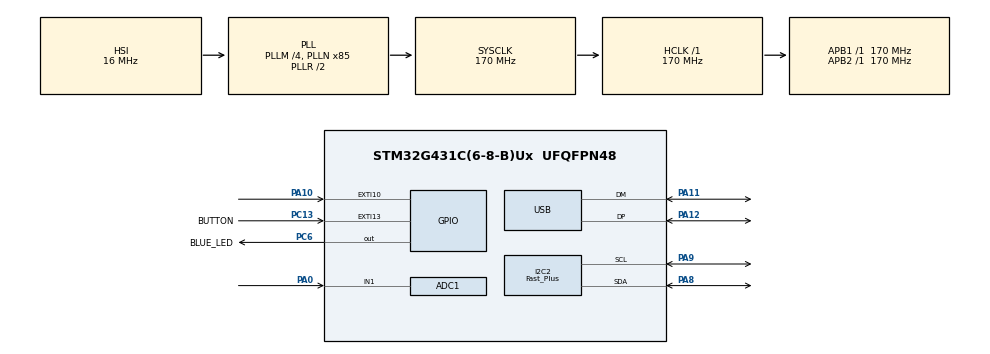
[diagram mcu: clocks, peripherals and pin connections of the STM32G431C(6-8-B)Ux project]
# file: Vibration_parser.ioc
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ADC1.Channel-2\#ChannelRegularConversion=ADC_CHANNEL_1
ADC1.ClockPrescaler=ADC_CLOCK_ASYNC_DIV4
ADC1.ContinuousConvMode=DISABLE
ADC1.EOCSelection=ADC_EOC_SINGLE_CONV
ADC1.EnableRegularConversion=ENABLE
ADC1.GainCompensation=0
ADC1.NbrOfConversionFlag=1
ADC1.OffsetNumber-2\#ChannelRegularConversion=ADC_OFFSET_NONE
ADC1.Overrun=ADC_OVR_DATA_OVERWRITTEN
ADC1.OversamplingMode=ENABLE
ADC1.OversamplingStopReset=ADC_REGOVERSAMPLING_CONTINUED_MODE
ADC1.Rank-2\#ChannelRegularConversion=1
ADC1.Ratio=ADC_OVERSAMPLING_RATIO_16
ADC1.Resolution=ADC_RESOLUTION_12B
ADC1.SamplingTime-2\#ChannelRegularConversion=ADC_SAMPLETIME_2CYCLES_5
ADC1.master=1
I2C2.I2C_Speed_Mode=I2C_Fast_Plus
I2C2.Timing=0x00802172
Mcu.Family=STM32G4
Mcu.Name=STM32G431C(6-8-B)Ux
Mcu.Package=UFQFPN48
NVIC.ADC1_2_IRQn=true\:4\:0\:true\:false\:true\:true\:true\:true
NVIC.EXTI15_10_IRQn=true\:0\:0\:false\:false\:true\:true\:true\:true
NVIC.PriorityGroup=NVIC_PRIORITYGROUP_4
NVIC.USB_LP_IRQn=true\:0\:0\:false\:false\:true\:false\:true\:true
PA0.Mode=IN1-Single-Ended
PA0.Signal=ADC1_IN1
PA10.GPIO_PuPd=GPIO_PULLDOWN
PA10.Signal=GPXTI10
PA11.Mode=Device
PA11.Signal=USB_DM
PA12.Mode=Device
PA12.Signal=USB_DP
PA13.Mode=JTAG_4_pins
PA13.Signal=SYS_JTMS-SWDIO
PA14.Mode=JTAG_4_pins
PA14.Signal=SYS_JTCK-SWCLK
PA15.Mode=JTAG_4_pins
PA15.Signal=SYS_JTDI
PA8.Mode=I2C
PA8.Signal=I2C2_SDA
PA9.Mode=I2C
PA9.Signal=I2C2_SCL
PB3.Mode=JTAG_4_pins
PB3.Signal=SYS_JTDO-SWO
PC13.GPIO_Label=BUTTON
PC13.GPIO_PuPd=GPIO_PULLDOWN
PC13.Signal=GPXTI13
PC14-OSC32_IN.Mode=LSE-External-Oscillator
PC14-OSC32_IN.Signal=RCC_OSC32_IN
PC15-OSC32_OUT.Mode=LSE-External-Oscillator
PC15-OSC32_OUT.Signal=RCC_OSC32_OUT
PC6.GPIO_Label=BLUE_LED
PC6.Signal=GPIO_Output
PF0-OSC_IN.Mode=HSE-External-Oscillator
PF0-OSC_IN.Signal=RCC_OSC_IN
PF1-OSC_OUT.Mode=HSE-External-Oscillator
PF1-OSC_OUT.Signal=RCC_OSC_OUT
ProjectManager.HeapSize=0x200
ProjectManager.StackSize=0x400
ProjectManager.TargetToolchain=STM32CubeIDE
RCC.ADC12Freq_Value=170000000
RCC.AHBFreq_Value=170000000
RCC.APB1Freq_Value=170000000
RCC.APB1TimFreq_Value=170000000
RCC.APB2Freq_Value=170000000
RCC.APB2TimFreq_Value=170000000
RCC.CK48CLockSelection=RCC_USBCLKSOURCE_HSI48
RCC.CortexFreq_Value=170000000
RCC.EXTERNAL_CLOCK_VALUE=12288000
RCC.HCLKFreq_Value=170000000
RCC.HSE_VALUE=8000000
RCC.HSI48_VALUE=48000000
RCC.HSI_VALUE=16000000
RCC.PLLM=RCC_PLLM_DIV4
RCC.PLLN=85
RCC.SYSCLKFreq_VALUE=170000000
RCC.SYSCLKSource=RCC_SYSCLKSOURCE_PLLCLK
RCC.USBFreq_Value=48000000
RCC.VCOOutputFreq_Value=340000000
USB_DEVICE.CLASS_NAME_FS=CDC
USB_DEVICE.VirtualMode=Cdc
USB_DEVICE.VirtualModeFS=Cdc_FS
VP_USB_DEVICE_VS_USB_DEVICE_CDC_FS.Mode=CDC_FS
board=custom

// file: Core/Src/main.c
/* USER CODE BEGIN Header */
/**
  ******************************************************************************
  * @file           : main.c
  * @brief          : Main program body
  ******************************************************************************
  * @attention
  *
  * Copyright (c) 2024 STMicroelectronics.
  * All rights reserved.
  *
  * This software is licensed under terms that can be found in the LICENSE file
  * in the root directory of this software component.
  * If no LICENSE file comes with this software, it is provided AS-IS.
  *
  ******************************************************************************
  */
/* USER CODE END Header */
#include "main.h"
#include "usb_device.h"

/* USER CODE BEGIN Includes */
#include "usbd_cdc_if.h"
extern USBD_HandleTypeDef hUsbDeviceFS;
/* USER CODE END Includes */

/* USER CODE BEGIN PTD */

// MPU6050 structure
struct MPU6050_t
{

    int16_t Accel_X_RAW;
    int16_t Accel_Y_RAW;
    int16_t Accel_Z_RAW;
    double Ax;
    double Ay;
    double Az;

    /*int16_t Gyro_X_RAW;
    int16_t Gyro_Y_RAW;
    int16_t Gyro_Z_RAW;
    double Gx;
    double Gy;
    double Gz;*/

    float Temperature;
} DataStruct_MPU6050;

/* USER CODE END PTD */

/* USER CODE BEGIN PD */
#define TX_USB_DATA_SIZE 512

#define MPU6050_ADDR 0xD0

#define WHO_AM_I_REG 0x75
#define PWR_MGMT_1_REG 0x6B
#define SMPLRT_DIV_REG 0x19
#define ACCEL_CONFIG_REG 0x1C

#define FIFO_ENABLE_REG 0x23

#define ACCEL_XOUT_H_REG 0x3B
#define INT_PIN_REG 0x37
#define INT_ENABLE_REG 0x38
#define INT_STATUS_REG 0x3A
#define TEMP_OUT_H_REG 0x41
//#define GYRO_CONFIG_REG 0x1B
//#define GYRO_XOUT_H_REG 0x43

/* USER CODE END PD */

ADC_HandleTypeDef hadc1;

I2C_HandleTypeDef hi2c2;

/* USER CODE BEGIN PV */
uint8_t MainUsbTxBuffer[TX_USB_DATA_SIZE];

uint8_t regData = 0, Read_Data_Flag = 0;
uint32_t i2c_timeout = 100, Main_Delay = 1000;
uint32_t ADC_Value; // 12-bit resolution
float ADC_Fl;

/* USER CODE END PV */

void SystemClock_Config(void);
static void MX_GPIO_Init(void);
static void MX_I2C2_Init(void);
static void MX_ADC1_Init(void);
/* USER CODE BEGIN PFP */
void Sensor_MPU6050_init(void);
void MPU6050_Read_All(void);
/* USER CODE END PFP */

int main(void)
{

  /* MCU Configuration--------------------------------------------------------*/

  /* Reset of all peripherals, Initializes the Flash interface and the Systick. */
  HAL_Init();

  /* Configure the system clock */
  SystemClock_Config();

  /* Initialize all configured peripherals */
  MX_GPIO_Init();
  MX_USB_Device_Init();
  MX_I2C2_Init();
  MX_ADC1_Init();
  /* USER CODE BEGIN 2 */
#ifdef MPU6050
  HAL_I2C_Mem_Read (&hi2c2, MPU6050_ADDR, WHO_AM_I_REG, 1, &regData, 1, i2c_timeout);
  Sensor_MPU6050_init();
#else
  //HAL_ADCEx_Calibration_Start(&hadc1);
  HAL_ADC_Start_IT(&hadc1);
#endif

  /* USER CODE END 2 */

  /* Infinite loop */
  /* USER CODE BEGIN WHILE */
  uint32_t time = HAL_GetTick(), sz;

  //sz = sprintf((char *)&MainUsbTxBuffer, "1)-1.0;1)0.0;1)1.0;");
  USBD_CDC_HandleTypeDef *hcdc = (USBD_CDC_HandleTypeDef*)hUsbDeviceFS.pClassData;

  while (1)
  {
    /* USER CODE END WHILE */

    /* USER CODE BEGIN 3 */

	if(HAL_GetTick() > time)
	{
		HAL_GPIO_TogglePin(BLUE_LED_GPIO_Port, BLUE_LED_Pin);
		time = HAL_GetTick() + Main_Delay;
	}

#ifdef MPU6050
	if(Read_Data_Flag)
	{
		MPU6050_Read_All();
		Read_Data_Flag = 0;

		sz = sprintf((char *)&MainUsbTxBuffer, "1)%.3f;2)%.3f;3)%.3f;",
									DataStruct_MPU6050.Ax,
									DataStruct_MPU6050.Ay,
									DataStruct_MPU6050.Az);

		CDC_Transmit_FS(&MainUsbTxBuffer[0], sz);
	}

	/* For speed test
	while(USBD_OK != CDC_Transmit_FS(&MainUsbTxBuffer[0], 63)); // 7
	HAL_GPIO_WritePin(BLUE_LED_GPIO_Port, BLUE_LED_Pin, GPIO_PIN_SET);
	HAL_GPIO_WritePin(BLUE_LED_GPIO_Port, BLUE_LED_Pin, GPIO_PIN_RESET);
	*/
#else
	if (hcdc->TxState == 0)
	{
		ADC_Fl = ADC_Value * 3.3f / (4095 * 1 ); // 4095 - 12 bit; 16 - oversampling

		sz = sprintf((char *)&MainUsbTxBuffer, "1)%.3f;", ADC_Fl);
		CDC_Transmit_FS(&MainUsbTxBuffer[0], sz);
		HAL_ADC_Start_IT(&hadc1);
	}
	//HAL_Delay(1);
#endif

  }
  /* USER CODE END 3 */
}

void SystemClock_Config(void)
{
  RCC_OscInitTypeDef RCC_OscInitStruct = {0};
  RCC_ClkInitTypeDef RCC_ClkInitStruct = {0};

  /** Configure the main internal regulator output voltage
  */
  HAL_PWREx_ControlVoltageScaling(PWR_REGULATOR_VOLTAGE_SCALE1_BOOST);

  /** Initializes the RCC Oscillators according to the specified parameters
  * in the RCC_OscInitTypeDef structure.
  */
  RCC_OscInitStruct.OscillatorType = RCC_OSCILLATORTYPE_HSI|RCC_OSCILLATORTYPE_HSI48;
  RCC_OscInitStruct.HSIState = RCC_HSI_ON;
  RCC_OscInitStruct.HSICalibrationValue = RCC_HSICALIBRATION_DEFAULT;
  RCC_OscInitStruct.HSI48State = RCC_HSI48_ON;
  RCC_OscInitStruct.PLL.PLLState = RCC_PLL_ON;
  RCC_OscInitStruct.PLL.PLLSource = RCC_PLLSOURCE_HSI;
  RCC_OscInitStruct.PLL.PLLM = RCC_PLLM_DIV4;
  RCC_OscInitStruct.PLL.PLLN = 85;
  RCC_OscInitStruct.PLL.PLLP = RCC_PLLP_DIV2;
  RCC_OscInitStruct.PLL.PLLQ = RCC_PLLQ_DIV2;
  RCC_OscInitStruct.PLL.PLLR = RCC_PLLR_DIV2;
  if (HAL_RCC_OscConfig(&RCC_OscInitStruct) != HAL_OK)
  {
    Error_Handler();
  }

  /** Initializes the CPU, AHB and APB buses clocks
  */
  RCC_ClkInitStruct.ClockType = RCC_CLOCKTYPE_HCLK|RCC_CLOCKTYPE_SYSCLK
                              |RCC_CLOCKTYPE_PCLK1|RCC_CLOCKTYPE_PCLK2;
  RCC_ClkInitStruct.SYSCLKSource = RCC_SYSCLKSOURCE_PLLCLK;
  RCC_ClkInitStruct.AHBCLKDivider = RCC_SYSCLK_DIV1;
  RCC_ClkInitStruct.APB1CLKDivider = RCC_HCLK_DIV1;
  RCC_ClkInitStruct.APB2CLKDivider = RCC_HCLK_DIV1;

  if (HAL_RCC_ClockConfig(&RCC_ClkInitStruct, FLASH_LATENCY_4) != HAL_OK)
  {
    Error_Handler();
  }
}

static void MX_ADC1_Init(void)
{

  ADC_MultiModeTypeDef multimode = {0};
  ADC_ChannelConfTypeDef sConfig = {0};

  /** Common config
  */
  hadc1.Instance = ADC1;
  hadc1.Init.ClockPrescaler = ADC_CLOCK_ASYNC_DIV4;
  hadc1.Init.Resolution = ADC_RESOLUTION_12B;
  hadc1.Init.DataAlign = ADC_DATAALIGN_RIGHT;
  hadc1.Init.GainCompensation = 0;
  hadc1.Init.ScanConvMode = ADC_SCAN_DISABLE;
  hadc1.Init.EOCSelection = ADC_EOC_SINGLE_CONV;
  hadc1.Init.LowPowerAutoWait = DISABLE;
  hadc1.Init.ContinuousConvMode = DISABLE;
  hadc1.Init.NbrOfConversion = 1;
  hadc1.Init.DiscontinuousConvMode = DISABLE;
  hadc1.Init.ExternalTrigConv = ADC_SOFTWARE_START;
  hadc1.Init.ExternalTrigConvEdge = ADC_EXTERNALTRIGCONVEDGE_NONE;
  hadc1.Init.DMAContinuousRequests = DISABLE;
  hadc1.Init.Overrun = ADC_OVR_DATA_OVERWRITTEN;
  hadc1.Init.OversamplingMode = ENABLE;
  hadc1.Init.Oversampling.Ratio = ADC_OVERSAMPLING_RATIO_16;
  hadc1.Init.Oversampling.RightBitShift = ADC_RIGHTBITSHIFT_NONE;
  hadc1.Init.Oversampling.TriggeredMode = ADC_TRIGGEREDMODE_SINGLE_TRIGGER;
  hadc1.Init.Oversampling.OversamplingStopReset = ADC_REGOVERSAMPLING_CONTINUED_MODE;
  if (HAL_ADC_Init(&hadc1) != HAL_OK)
  {
    Error_Handler();
  }

  /** Configure the ADC multi-mode
  */
  multimode.Mode = ADC_MODE_INDEPENDENT;
  if (HAL_ADCEx_MultiModeConfigChannel(&hadc1, &multimode) != HAL_OK)
  {
    Error_Handler();
  }

  /** Configure Regular Channel
  */
  sConfig.Channel = ADC_CHANNEL_1;
  sConfig.Rank = ADC_REGULAR_RANK_1;
  sConfig.SamplingTime = ADC_SAMPLETIME_2CYCLES_5;
  sConfig.SingleDiff = ADC_SINGLE_ENDED;
  sConfig.OffsetNumber = ADC_OFFSET_NONE;
  sConfig.Offset = 0;
  if (HAL_ADC_ConfigChannel(&hadc1, &sConfig) != HAL_OK)
  {
    Error_Handler();
  }

}

static void MX_I2C2_Init(void)
{

  hi2c2.Instance = I2C2;
  hi2c2.Init.Timing = 0x00802172;
  hi2c2.Init.OwnAddress1 = 0;
  hi2c2.Init.AddressingMode = I2C_ADDRESSINGMODE_7BIT;
  hi2c2.Init.DualAddressMode = I2C_DUALADDRESS_DISABLE;
  hi2c2.Init.OwnAddress2 = 0;
  hi2c2.Init.OwnAddress2Masks = I2C_OA2_NOMASK;
  hi2c2.Init.GeneralCallMode = I2C_GENERALCALL_DISABLE;
  hi2c2.Init.NoStretchMode = I2C_NOSTRETCH_DISABLE;
  if (HAL_I2C_Init(&hi2c2) != HAL_OK)
  {
    Error_Handler();
  }

  /** Configure Analogue filter
  */
  if (HAL_I2CEx_ConfigAnalogFilter(&hi2c2, I2C_ANALOGFILTER_ENABLE) != HAL_OK)
  {
    Error_Handler();
  }

  /** Configure Digital filter
  */
  if (HAL_I2CEx_ConfigDigitalFilter(&hi2c2, 0) != HAL_OK)
  {
    Error_Handler();
  }

  /** I2C Fast mode Plus enable
  */
  __HAL_SYSCFG_FASTMODEPLUS_ENABLE(I2C_FASTMODEPLUS_I2C2);

}

static void MX_GPIO_Init(void)
{
  GPIO_InitTypeDef GPIO_InitStruct = {0};

  /* GPIO Ports Clock Enable */
  __HAL_RCC_GPIOC_CLK_ENABLE();
  __HAL_RCC_GPIOF_CLK_ENABLE();
  __HAL_RCC_GPIOA_CLK_ENABLE();
  __HAL_RCC_GPIOB_CLK_ENABLE();

  /*Configure GPIO pin Output Level */
  HAL_GPIO_WritePin(BLUE_LED_GPIO_Port, BLUE_LED_Pin, GPIO_PIN_RESET);

  /*Configure GPIO pin : BUTTON_Pin */
  GPIO_InitStruct.Pin = BUTTON_Pin;
  GPIO_InitStruct.Mode = GPIO_MODE_IT_RISING;
  GPIO_InitStruct.Pull = GPIO_PULLDOWN;
  HAL_GPIO_Init(BUTTON_GPIO_Port, &GPIO_InitStruct);

  /*Configure GPIO pin : BLUE_LED_Pin */
  GPIO_InitStruct.Pin = BLUE_LED_Pin;
  GPIO_InitStruct.Mode = GPIO_MODE_OUTPUT_PP;
  GPIO_InitStruct.Pull = GPIO_NOPULL;
  GPIO_InitStruct.Speed = GPIO_SPEED_FREQ_LOW;
  HAL_GPIO_Init(BLUE_LED_GPIO_Port, &GPIO_InitStruct);

  /*Configure GPIO pin : PA10 */
  GPIO_InitStruct.Pin = GPIO_PIN_10;
  GPIO_InitStruct.Mode = GPIO_MODE_IT_RISING;
  GPIO_InitStruct.Pull = GPIO_PULLDOWN;
  HAL_GPIO_Init(GPIOA, &GPIO_InitStruct);

  /* EXTI interrupt init*/
  HAL_NVIC_SetPriority(EXTI15_10_IRQn, 0, 0);
  HAL_NVIC_EnableIRQ(EXTI15_10_IRQn);

}

/* USER CODE BEGIN 4 */

void Sensor_MPU6050_init()
{
	// power management register 0X6B we should write all 0's to wake the sensor up
	regData = 0;
	HAL_I2C_Mem_Write(&hi2c2, MPU6050_ADDR, PWR_MGMT_1_REG, 1, &regData, 1, i2c_timeout);

	// Set DATA RATE of 4KHz by writing SMPLRT_DIV register
	// 4kHz - only 3-axis Data, 3 kHz - + temp
	regData = 0x01; // 0x07.
	HAL_I2C_Mem_Write(&hi2c2, MPU6050_ADDR, SMPLRT_DIV_REG, 1, &regData, 1, i2c_timeout);

	// Set accelerometer configuration in ACCEL_CONFIG Register
	// XA_ST=0,YA_ST=0,ZA_ST=0, FS_SEL=0 -> � 2g
	regData = 0x68;
	HAL_I2C_Mem_Write(&hi2c2, MPU6050_ADDR, ACCEL_CONFIG_REG, 1, &regData, 1, i2c_timeout);

	// Set flag interupt
	regData = 0x1;
	HAL_I2C_Mem_Write(&hi2c2, MPU6050_ADDR, INT_ENABLE_REG, 1, &regData, 1, i2c_timeout);
}

void MPU6050_Read_Temp(void)
{
	uint8_t Rec_Data[2];
	int16_t temp;

	// Read 2 BYTES of data starting from TEMP_OUT_H_REG register

	HAL_I2C_Mem_Read(&hi2c2, MPU6050_ADDR, TEMP_OUT_H_REG, 1, Rec_Data, 2, i2c_timeout);

	temp = (int16_t)(Rec_Data[0] << 8 | Rec_Data[1]);
	DataStruct_MPU6050.Temperature = (float)((int16_t)temp / (float)340.0 + (float)36.53);
}

void MPU6050_Read_All()
{
	uint8_t Rec_Data[6];

	// Read 6 BYTES of data starting from ACCEL_XOUT_H register

	volatile HAL_StatusTypeDef tst = HAL_I2C_Mem_Read(&hi2c2, MPU6050_ADDR, ACCEL_XOUT_H_REG, 1, Rec_Data, 6, i2c_timeout);

	if(tst == HAL_ERROR) // An error may occur over time. That solves it.
	{
		HAL_I2C_DeInit(&hi2c2);
		MX_I2C2_Init();
	}

	DataStruct_MPU6050.Accel_X_RAW = (int16_t)(Rec_Data[0] << 8 | Rec_Data[1]);
	DataStruct_MPU6050.Accel_Y_RAW = (int16_t)(Rec_Data[2] << 8 | Rec_Data[3]);
	DataStruct_MPU6050.Accel_Z_RAW = (int16_t)(Rec_Data[4] << 8 | Rec_Data[5]);

	/*** convert the RAW values into acceleration in 'g'
		 we have to divide according to the Full scale value set in FS_SEL
		 I have configured FS_SEL = 0. So I am dividing by 16384.0
		 for more details check ACCEL_CONFIG Register              ****/

	DataStruct_MPU6050.Ax = DataStruct_MPU6050.Accel_X_RAW / 16384.0;
	DataStruct_MPU6050.Ay = DataStruct_MPU6050.Accel_Y_RAW / 16384.0;
	DataStruct_MPU6050.Az = DataStruct_MPU6050.Accel_Z_RAW / 14418.0;

	//MPU6050_Read_Temp();
	//HAL_I2C_Mem_Read(&hi2c2, MPU6050_ADDR, 	INT_STATUS_REG, 1, &regData, 1, i2c_timeout);
}

void HAL_GPIO_EXTI_Callback(uint16_t GPIO_Pin)
{
	switch(GPIO_Pin)
	{
		case GPIO_PIN_10:
			Read_Data_Flag = 1;
			break;

		case BUTTON_Pin:
			if(Main_Delay == 5)
				Main_Delay = 50;
			else
				if(Main_Delay == 50)
					Main_Delay = 250;
				else
					if(Main_Delay == 250)
						Main_Delay = 1000;
					else
						Main_Delay = 5;
			break;
	}
}

void HAL_ADC_ConvCpltCallback(ADC_HandleTypeDef* hadc)
{
    if(hadc->Instance == ADC1) //check if the interrupt comes from ACD1
    {
        ADC_Value = HAL_ADC_GetValue(&hadc1);
    }
}

/* USER CODE END 4 */

void Error_Handler(void)
{
  __disable_irq();
  while (1)
  {
  }
}
